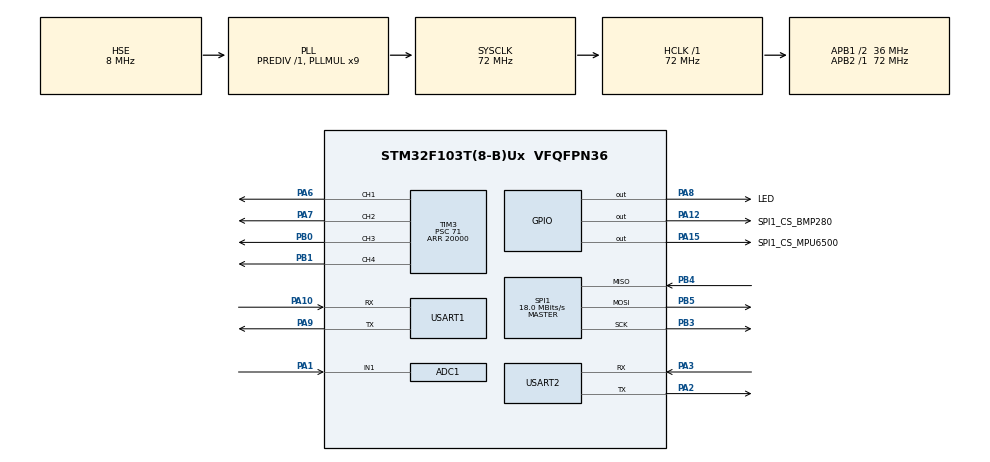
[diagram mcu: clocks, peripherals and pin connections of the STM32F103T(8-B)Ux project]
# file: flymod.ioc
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ADC1.Channel-0\#ChannelRegularConversion=ADC_CHANNEL_1
ADC1.ContinuousConvMode=ENABLE
ADC1.NbrOfConversionFlag=1
ADC1.Rank-0\#ChannelRegularConversion=1
ADC1.SamplingTime-0\#ChannelRegularConversion=ADC_SAMPLETIME_1CYCLE_5
ADC1.master=1
Dma.ADC1.0.Direction=DMA_PERIPH_TO_MEMORY
Dma.ADC1.0.Instance=DMA1_Channel1
Dma.ADC1.0.MemDataAlignment=DMA_MDATAALIGN_WORD
Dma.ADC1.0.MemInc=DMA_MINC_ENABLE
Dma.ADC1.0.Mode=DMA_CIRCULAR
Dma.ADC1.0.PeriphDataAlignment=DMA_PDATAALIGN_WORD
Dma.ADC1.0.PeriphInc=DMA_PINC_DISABLE
Dma.ADC1.0.Priority=DMA_PRIORITY_LOW
Dma.Request0=ADC1
Dma.Request1=USART1_RX
Dma.Request2=USART1_TX
Dma.Request3=USART2_RX
Dma.Request4=USART2_TX
Dma.USART1_RX.1.Direction=DMA_PERIPH_TO_MEMORY
Dma.USART1_RX.1.Instance=DMA1_Channel5
Dma.USART1_RX.1.MemDataAlignment=DMA_MDATAALIGN_BYTE
Dma.USART1_RX.1.MemInc=DMA_MINC_ENABLE
Dma.USART1_RX.1.Mode=DMA_NORMAL
Dma.USART1_RX.1.PeriphDataAlignment=DMA_PDATAALIGN_BYTE
Dma.USART1_RX.1.PeriphInc=DMA_PINC_DISABLE
Dma.USART1_RX.1.Priority=DMA_PRIORITY_LOW
Dma.USART1_TX.2.Direction=DMA_MEMORY_TO_PERIPH
Dma.USART1_TX.2.Instance=DMA1_Channel4
Dma.USART1_TX.2.MemDataAlignment=DMA_MDATAALIGN_BYTE
Dma.USART1_TX.2.MemInc=DMA_MINC_ENABLE
Dma.USART1_TX.2.Mode=DMA_CIRCULAR
Dma.USART1_TX.2.PeriphDataAlignment=DMA_PDATAALIGN_BYTE
Dma.USART1_TX.2.PeriphInc=DMA_PINC_DISABLE
Dma.USART1_TX.2.Priority=DMA_PRIORITY_LOW
Dma.USART2_RX.3.Direction=DMA_PERIPH_TO_MEMORY
Dma.USART2_RX.3.Instance=DMA1_Channel6
Dma.USART2_RX.3.MemDataAlignment=DMA_MDATAALIGN_BYTE
Dma.USART2_RX.3.MemInc=DMA_MINC_ENABLE
Dma.USART2_RX.3.Mode=DMA_NORMAL
Dma.USART2_RX.3.PeriphDataAlignment=DMA_PDATAALIGN_BYTE
Dma.USART2_RX.3.PeriphInc=DMA_PINC_DISABLE
Dma.USART2_RX.3.Priority=DMA_PRIORITY_LOW
Dma.USART2_TX.4.Direction=DMA_MEMORY_TO_PERIPH
Dma.USART2_TX.4.Instance=DMA1_Channel7
Dma.USART2_TX.4.MemDataAlignment=DMA_MDATAALIGN_BYTE
Dma.USART2_TX.4.MemInc=DMA_MINC_ENABLE
Dma.USART2_TX.4.Mode=DMA_CIRCULAR
Dma.USART2_TX.4.PeriphDataAlignment=DMA_PDATAALIGN_BYTE
Dma.USART2_TX.4.PeriphInc=DMA_PINC_DISABLE
Dma.USART2_TX.4.Priority=DMA_PRIORITY_LOW
FREERTOS.INCLUDE_vTaskDelayUntil=1
FREERTOS.Tasks01=defaultTask,0,128,StartDefaultTask,Default,NULL,Dynamic,NULL,NULL;STABILIZER,0,128,stabilizerTask,Default,NULL,Dynamic,NULL,NULL;USART1_RX,-1,64,usart1RxTask,Default,NULL,Dynamic,NULL,NULL;USART2_RX,-1,64,usart2RxTask,Default,NULL,Dynamic,NULL,NULL;USART1_TX,-3,64,usart1TxTask,Default,NULL,Dynamic,NULL,NULL;USART2_TX,-3,64,usart2TxTask,Default,NULL,Dynamic,NULL,NULL
FREERTOS.configMAX_PRIORITIES=4
FREERTOS.configMINIMAL_STACK_SIZE=64
FREERTOS.configTOTAL_HEAP_SIZE=10000
Mcu.Family=STM32F1
Mcu.Name=STM32F103T(8-B)Ux
Mcu.Package=VFQFPN36
NVIC.DMA1_Channel1_IRQn=true\:5\:0\:false\:false\:true\:true\:false
NVIC.DMA1_Channel4_IRQn=true\:5\:0\:false\:false\:true\:true\:false
NVIC.DMA1_Channel5_IRQn=true\:5\:0\:false\:false\:true\:true\:false
NVIC.DMA1_Channel6_IRQn=true\:5\:0\:false\:false\:true\:true\:false
NVIC.DMA1_Channel7_IRQn=true\:5\:0\:false\:false\:true\:true\:false
NVIC.PriorityGroup=NVIC_PRIORITYGROUP_4
NVIC.TIM1_UP_IRQn=true\:0\:0\:false\:false\:true\:false\:false
NVIC.TimeBase=TIM1_UP_IRQn
NVIC.TimeBaseIP=TIM1
NVIC.USART1_IRQn=true\:5\:0\:false\:false\:true\:true\:true
NVIC.USART2_IRQn=true\:5\:0\:false\:false\:true\:true\:true
PA1.Signal=ADCx_IN1
PA10.Mode=Asynchronous
PA10.Signal=USART1_RX
PA12.GPIO_Label=SPI1_CS_BMP280
PA12.GPIO_ModeDefaultOutputPP=GPIO_MODE_OUTPUT_PP
PA12.GPIO_PuPd=GPIO_PULLUP
PA12.GPIO_Speed=GPIO_SPEED_FREQ_HIGH
PA12.PinState=GPIO_PIN_SET
PA12.Signal=GPIO_Output
PA13.Mode=Serial_Wire
PA13.Signal=SYS_JTMS-SWDIO
PA14.Mode=Serial_Wire
PA14.Signal=SYS_JTCK-SWCLK
PA15.GPIO_Label=SPI1_CS_MPU6500
PA15.GPIO_PuPd=GPIO_PULLUP
PA15.GPIO_Speed=GPIO_SPEED_FREQ_HIGH
PA15.PinState=GPIO_PIN_SET
PA15.Signal=GPIO_Output
PA2.Mode=Asynchronous
PA2.Signal=USART2_TX
PA3.Mode=Asynchronous
PA3.Signal=USART2_RX
PA6.Signal=S_TIM3_CH1
PA7.Signal=S_TIM3_CH2
PA8.GPIO_Label=LED
PA8.GPIO_PuPd=GPIO_PULLUP
PA8.GPIO_Speed=GPIO_SPEED_FREQ_HIGH
PA8.PinState=GPIO_PIN_SET
PA8.Signal=GPIO_Output
PA9.Mode=Asynchronous
PA9.Signal=USART1_TX
PB0.Signal=S_TIM3_CH3
PB1.Signal=S_TIM3_CH4
PB3.Mode=Full_Duplex_Master
PB3.Signal=SPI1_SCK
PB4.Mode=Full_Duplex_Master
PB4.Signal=SPI1_MISO
PB5.Mode=Full_Duplex_Master
PB5.Signal=SPI1_MOSI
PD0-OSC_IN.Mode=HSE-External-Oscillator
PD0-OSC_IN.Signal=RCC_OSC_IN
PD1-OSC_OUT.Mode=HSE-External-Oscillator
PD1-OSC_OUT.Signal=RCC_OSC_OUT
ProjectManager.HeapSize=0x200
ProjectManager.StackSize=0x400
ProjectManager.TargetToolchain=MDK-ARM V5
RCC.ADCPresc=RCC_ADCPCLK2_DIV6
RCC.AHBFreq_Value=72000000
RCC.APB1CLKDivider=RCC_HCLK_DIV2
RCC.APB1Freq_Value=36000000
RCC.APB1TimFreq_Value=72000000
RCC.APB2Freq_Value=72000000
RCC.APB2TimFreq_Value=72000000
RCC.HCLKFreq_Value=72000000
RCC.PLLMUL=RCC_PLL_MUL9
RCC.PLLSourceVirtual=RCC_PLLSOURCE_HSE
RCC.SYSCLKFreq_VALUE=72000000
RCC.SYSCLKSource=RCC_SYSCLKSOURCE_PLLCLK
RCC.USBFreq_Value=72000000
SH.ADCx_IN1.0=ADC1_IN1,IN1
SH.S_TIM3_CH1.0=TIM3_CH1,PWM Generation1 CH1
SH.S_TIM3_CH2.0=TIM3_CH2,PWM Generation2 CH2
SH.S_TIM3_CH3.0=TIM3_CH3,PWM Generation3 CH3
SH.S_TIM3_CH4.0=TIM3_CH4,PWM Generation4 CH4
SPI1.BaudRatePrescaler=SPI_BAUDRATEPRESCALER_4
SPI1.CalculateBaudRate=18.0 MBits/s
SPI1.Direction=SPI_DIRECTION_2LINES
SPI1.Mode=SPI_MODE_MASTER
SPI1.VirtualType=VM_MASTER
TIM2.AutoReloadPreload=TIM_AUTORELOAD_PRELOAD_ENABLE
TIM2.Period=65535
TIM2.Prescaler=71
TIM3.AutoReloadPreload=TIM_AUTORELOAD_PRELOAD_ENABLE
TIM3.Channel-PWM\ Generation1\ CH1=TIM_CHANNEL_1
TIM3.Channel-PWM\ Generation2\ CH2=TIM_CHANNEL_2
TIM3.Channel-PWM\ Generation3\ CH3=TIM_CHANNEL_3
TIM3.Channel-PWM\ Generation4\ CH4=TIM_CHANNEL_4
TIM3.Period=20000
TIM3.Prescaler=71
TIM4.AutoReloadPreload=TIM_AUTORELOAD_PRELOAD_ENABLE
TIM4.Period=65535
TIM4.Prescaler=71
USART1.VirtualMode=VM_ASYNC
USART2.VirtualMode=VM_ASYNC
VP_FREERTOS_VS_ENABLE.Mode=Enabled
VP_SYS_VS_tim1.Mode=TIM1
VP_TIM2_VS_ClockSourceINT.Mode=Internal
VP_TIM4_VS_ClockSourceINT.Mode=Internal
board=custom

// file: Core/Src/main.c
/**
  ******************************************************************************
  * @file           : main.c
  * @brief          : Main program body
  ******************************************************************************
  * This notice applies to any and all portions of this file
  * that are not between comment pairs USER CODE BEGIN and
  * USER CODE END. Other portions of this file, whether
  * inserted by the user or by software development tools
  * are owned by their respective copyright owners.
  *
  * Copyright (c) 2018 STMicroelectronics International N.V.
  * All rights reserved.
  *
  * Redistribution and use in source and binary forms, with or without
  * modification, are permitted, provided that the following conditions are met:
  *
  * 1. Redistribution of source code must retain the above copyright notice,
  *    this list of conditions and the following disclaimer.
  * 2. Redistributions in binary form must reproduce the above copyright notice,
  *    this list of conditions and the following disclaimer in the documentation
  *    and/or other materials provided with the distribution.
  * 3. Neither the name of STMicroelectronics nor the names of other
  *    contributors to this software may be used to endorse or promote products
  *    derived from this software without specific written permission.
  * 4. This software, including modifications and/or derivative works of this
  *    software, must execute solely and exclusively on microcontroller or
  *    microprocessor devices manufactured by or for STMicroelectronics.
  * 5. Redistribution and use of this software other than as permitted under
  *    this license is void and will automatically terminate your rights under
  *    this license.
  *
  * THIS SOFTWARE IS PROVIDED BY STMICROELECTRONICS AND CONTRIBUTORS "AS IS"
  * AND ANY EXPRESS, IMPLIED OR STATUTORY WARRANTIES, INCLUDING, BUT NOT
  * LIMITED TO, THE IMPLIED WARRANTIES OF MERCHANTABILITY, FITNESS FOR A
  * PARTICULAR PURPOSE AND NON-INFRINGEMENT OF THIRD PARTY INTELLECTUAL PROPERTY
  * RIGHTS ARE DISCLAIMED TO THE FULLEST EXTENT PERMITTED BY LAW. IN NO EVENT
  * SHALL STMICROELECTRONICS OR CONTRIBUTORS BE LIABLE FOR ANY DIRECT, INDIRECT,
  * INCIDENTAL, SPECIAL, EXEMPLARY, OR CONSEQUENTIAL DAMAGES (INCLUDING, BUT NOT
  * LIMITED TO, PROCUREMENT OF SUBSTITUTE GOODS OR SERVICES; LOSS OF USE, DATA,
  * OR PROFITS; OR BUSINESS INTERRUPTION) HOWEVER CAUSED AND ON ANY THEORY OF
  * LIABILITY, WHETHER IN CONTRACT, STRICT LIABILITY, OR TORT (INCLUDING
  * NEGLIGENCE OR OTHERWISE) ARISING IN ANY WAY OUT OF THE USE OF THIS SOFTWARE,
  * EVEN IF ADVISED OF THE POSSIBILITY OF SUCH DAMAGE.
  *
  ******************************************************************************
  */
#include "main.h"
#include "stm32f1xx_hal.h"
#include "cmsis_os.h"
#include "adc.h"
#include "dma.h"
#include "spi.h"
#include "tim.h"
#include "usart.h"
#include "gpio.h"

/* USER CODE BEGIN Includes */

#include "mpu6500.h"

/* USER CODE END Includes */

/* USER CODE BEGIN PV */
/* Private variables ---------------------------------------------------------*/

/* USER CODE END PV */

void SystemClock_Config(void);
void MX_FREERTOS_Init(void);

/* USER CODE BEGIN PFP */
/* Private function prototypes -----------------------------------------------*/

/* USER CODE END PFP */

int main(void)
{

  /* MCU Configuration----------------------------------------------------------*/

  /* Reset of all peripherals, Initializes the Flash interface and the Systick. */
  HAL_Init();

  /* Configure the system clock */
  SystemClock_Config();

  /* Initialize all configured peripherals */
  MX_GPIO_Init();
  MX_DMA_Init();
  MX_ADC1_Init();
  MX_SPI1_Init();
  MX_TIM2_Init();
  MX_TIM3_Init();
  MX_TIM4_Init();
  MX_USART1_UART_Init();
  MX_USART2_UART_Init();
  /* USER CODE BEGIN 2 */

  #if NEED_TIME == 1
    HAL_TIM_Base_Start(&htim2);//用于计时，调试
    HAL_TIM_Base_Start(&htim4);//用于计时，调试
  #endif

  USART2_Init();
  MPU6500_Init();            //mpu6500初始化

  /* USER CODE END 2 */

  /* Call init function for freertos objects (in freertos.c) */
  MX_FREERTOS_Init();

  /* Start scheduler */
  osKernelStart();

  /* We should never get here as control is now taken by the scheduler */

  /* Infinite loop */
  while (1)
  {

  }

}

void SystemClock_Config(void)
{

  RCC_OscInitTypeDef RCC_OscInitStruct;
  RCC_ClkInitTypeDef RCC_ClkInitStruct;
  RCC_PeriphCLKInitTypeDef PeriphClkInit;

    /**Initializes the CPU, AHB and APB busses clocks
    */
  RCC_OscInitStruct.OscillatorType = RCC_OSCILLATORTYPE_HSE;
  RCC_OscInitStruct.HSEState = RCC_HSE_ON;
  RCC_OscInitStruct.HSEPredivValue = RCC_HSE_PREDIV_DIV1;
  RCC_OscInitStruct.HSIState = RCC_HSI_ON;
  RCC_OscInitStruct.PLL.PLLState = RCC_PLL_ON;
  RCC_OscInitStruct.PLL.PLLSource = RCC_PLLSOURCE_HSE;
  RCC_OscInitStruct.PLL.PLLMUL = RCC_PLL_MUL9;
  if (HAL_RCC_OscConfig(&RCC_OscInitStruct) != HAL_OK)
  {
    _Error_Handler(__FILE__, __LINE__);
  }

    /**Initializes the CPU, AHB and APB busses clocks
    */
  RCC_ClkInitStruct.ClockType = RCC_CLOCKTYPE_HCLK|RCC_CLOCKTYPE_SYSCLK
                              |RCC_CLOCKTYPE_PCLK1|RCC_CLOCKTYPE_PCLK2;
  RCC_ClkInitStruct.SYSCLKSource = RCC_SYSCLKSOURCE_PLLCLK;
  RCC_ClkInitStruct.AHBCLKDivider = RCC_SYSCLK_DIV1;
  RCC_ClkInitStruct.APB1CLKDivider = RCC_HCLK_DIV2;
  RCC_ClkInitStruct.APB2CLKDivider = RCC_HCLK_DIV1;

  if (HAL_RCC_ClockConfig(&RCC_ClkInitStruct, FLASH_LATENCY_2) != HAL_OK)
  {
    _Error_Handler(__FILE__, __LINE__);
  }

  PeriphClkInit.PeriphClockSelection = RCC_PERIPHCLK_ADC;
  PeriphClkInit.AdcClockSelection = RCC_ADCPCLK2_DIV6;
  if (HAL_RCCEx_PeriphCLKConfig(&PeriphClkInit) != HAL_OK)
  {
    _Error_Handler(__FILE__, __LINE__);
  }

    /**Configure the Systick interrupt time
    */
  HAL_SYSTICK_Config(HAL_RCC_GetHCLKFreq()/1000);

    /**Configure the Systick
    */
  HAL_SYSTICK_CLKSourceConfig(SYSTICK_CLKSOURCE_HCLK);

  /* SysTick_IRQn interrupt configuration */
  HAL_NVIC_SetPriority(SysTick_IRQn, 15, 0);
}

void HAL_TIM_PeriodElapsedCallback(TIM_HandleTypeDef *htim)
{
  if (htim->Instance == TIM1) {
    HAL_IncTick();
  }
}

void _Error_Handler(char *file, int line)
{
  while(1)
  {
  }
}

/************************ (C) COPYRIGHT STMicroelectronics *****END OF FILE****/

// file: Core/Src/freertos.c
/**
  ******************************************************************************
  * File Name          : freertos.c
  * Description        : Code for freertos applications
  ******************************************************************************
  * This notice applies to any and all portions of this file
  * that are not between comment pairs USER CODE BEGIN and
  * USER CODE END. Other portions of this file, whether
  * inserted by the user or by software development tools
  * are owned by their respective copyright owners.
  *
  * Copyright (c) 2018 STMicroelectronics International N.V.
  * All rights reserved.
  *
  * Redistribution and use in source and binary forms, with or without
  * modification, are permitted, provided that the following conditions are met:
  *
  * 1. Redistribution of source code must retain the above copyright notice,
  *    this list of conditions and the following disclaimer.
  * 2. Redistributions in binary form must reproduce the above copyright notice,
  *    this list of conditions and the following disclaimer in the documentation
  *    and/or other materials provided with the distribution.
  * 3. Neither the name of STMicroelectronics nor the names of other
  *    contributors to this software may be used to endorse or promote products
  *    derived from this software without specific written permission.
  * 4. This software, including modifications and/or derivative works of this
  *    software, must execute solely and exclusively on microcontroller or
  *    microprocessor devices manufactured by or for STMicroelectronics.
  * 5. Redistribution and use of this software other than as permitted under
  *    this license is void and will automatically terminate your rights under
  *    this license.
  *
  * THIS SOFTWARE IS PROVIDED BY STMICROELECTRONICS AND CONTRIBUTORS "AS IS"
  * AND ANY EXPRESS, IMPLIED OR STATUTORY WARRANTIES, INCLUDING, BUT NOT
  * LIMITED TO, THE IMPLIED WARRANTIES OF MERCHANTABILITY, FITNESS FOR A
  * PARTICULAR PURPOSE AND NON-INFRINGEMENT OF THIRD PARTY INTELLECTUAL PROPERTY
  * RIGHTS ARE DISCLAIMED TO THE FULLEST EXTENT PERMITTED BY LAW. IN NO EVENT
  * SHALL STMICROELECTRONICS OR CONTRIBUTORS BE LIABLE FOR ANY DIRECT, INDIRECT,
  * INCIDENTAL, SPECIAL, EXEMPLARY, OR CONSEQUENTIAL DAMAGES (INCLUDING, BUT NOT
  * LIMITED TO, PROCUREMENT OF SUBSTITUTE GOODS OR SERVICES; LOSS OF USE, DATA,
  * OR PROFITS; OR BUSINESS INTERRUPTION) HOWEVER CAUSED AND ON ANY THEORY OF
  * LIABILITY, WHETHER IN CONTRACT, STRICT LIABILITY, OR TORT (INCLUDING
  * NEGLIGENCE OR OTHERWISE) ARISING IN ANY WAY OUT OF THE USE OF THIS SOFTWARE,
  * EVEN IF ADVISED OF THE POSSIBILITY OF SUCH DAMAGE.
  *
  ******************************************************************************
  */

#include "FreeRTOS.h"
#include "task.h"
#include "cmsis_os.h"

/* USER CODE BEGIN Includes */

#include "data_common.h"
#include "mpu6500.h"
#include "tim.h"
#include "imu.h"
#include "usart.h"
#include "ANO_Tech_V4.h"

/* USER CODE END Includes */

osThreadId defaultTaskHandle;
osThreadId STABILIZERHandle;
osThreadId USART1_RXHandle;
osThreadId USART2_RXHandle;
osThreadId USART1_TXHandle;
osThreadId USART2_TXHandle;

/* USER CODE BEGIN Variables */

float main_loop_time=0;  //系统主循环周期

/* USER CODE END Variables */

void StartDefaultTask(void const * argument);
void stabilizerTask(void const * argument);
void usart1RxTask(void const * argument);
void usart2RxTask(void const * argument);
void usart1TxTask(void const * argument);
void usart2TxTask(void const * argument);

void MX_FREERTOS_Init(void); /* (MISRA C 2004 rule 8.1) */

/* Hook prototypes */

/* Init FreeRTOS */

void MX_FREERTOS_Init(void) {

  /* Create the thread(s) */
  /* definition and creation of defaultTask */
  osThreadDef(defaultTask, StartDefaultTask, osPriorityNormal, 0, 128);
  defaultTaskHandle = osThreadCreate(osThread(defaultTask), NULL);

  /* definition and creation of STABILIZER */
  osThreadDef(STABILIZER, stabilizerTask, osPriorityNormal, 0, 128);
  STABILIZERHandle = osThreadCreate(osThread(STABILIZER), NULL);

  /* definition and creation of USART1_RX */
  osThreadDef(USART1_RX, usart1RxTask, osPriorityBelowNormal, 0, 64);
  USART1_RXHandle = osThreadCreate(osThread(USART1_RX), NULL);

  /* definition and creation of USART2_RX */
  osThreadDef(USART2_RX, usart2RxTask, osPriorityBelowNormal, 0, 64);
  USART2_RXHandle = osThreadCreate(osThread(USART2_RX), NULL);

  /* definition and creation of USART1_TX */
  osThreadDef(USART1_TX, usart1TxTask, osPriorityIdle, 0, 64);
  USART1_TXHandle = osThreadCreate(osThread(USART1_TX), NULL);

  /* definition and creation of USART2_TX */
  osThreadDef(USART2_TX, usart2TxTask, osPriorityIdle, 0, 64);
  USART2_TXHandle = osThreadCreate(osThread(USART2_TX), NULL);

  /* USER CODE BEGIN RTOS_THREADS */
  /* add threads, ... */

  osThreadSuspend(USART1_RXHandle);//挂起
  Usart1.Rx.Task_flag=true;

  osThreadSuspend(USART2_RXHandle);//挂起
  Usart2.Rx.Task_flag=true;

  /* USER CODE END RTOS_THREADS */

}

/* StartDefaultTask function */
void StartDefaultTask(void const * argument)
{

  for(;;)
  {
    osDelay(1);
  }
}

/* stabilizerTask function */
void stabilizerTask(void const * argument)
{
  /* USER CODE BEGIN stabilizerTask */
  /* Infinite loop */

  uint32_t tick=0;

  TickType_t xLastWakeTime = xTaskGetTickCount();

  for(;;)
  {
    vTaskDelayUntil(&xLastWakeTime, portTICK_RATE_MS);//1ms延时，1000Hz

    //mpu6500数据读取，imu更新（500Hz）
    if(RATE_DO_EXECUTE(RATE_500_HZ, tick))
    {
      //更新MPU6500数据
      Sensors_Acc_Gyro_Update_2();

      //姿态解算
      IMUupdate_2(0.002f);

      //主循环时间计时
      #if NEED_TIME == 1
        Stop_timing(&htim4, &main_loop_time);//单位ms
        Start_timing(&htim4);
      #endif
    }

    tick++;//以1000Hz的速度自加，需要49天才会溢出（4,294,967,295）
  }
  /* USER CODE END stabilizerTask */
}

/* usart1RxTask function */
void usart1RxTask(void const * argument)
{
  for(;;)
  {
    osDelay(1);
  }
}

/* usart2RxTask function */
void usart2RxTask(void const * argument)
{
  /* USER CODE BEGIN usart2RxTask */
  /* Infinite loop */
  for(;;)
  {
    USART_Rx_Decode(Usart2.Rx.Buff);

    Usart2.Rx.Task_flag=true;
    osThreadSuspend(USART2_RXHandle);//挂起
  }
  /* USER CODE END usart2RxTask */
}

/* usart1TxTask function */
void usart1TxTask(void const * argument)
{
  for(;;)
  {
    osDelay(1);
  }
}

/* usart2TxTask function */
void usart2TxTask(void const * argument)
{
  /* USER CODE BEGIN usart2TxTask */
  /* Infinite loop */
  for(;;)
  {
    ANO_DT_Data_Exchange();//给上位机发送数据

    osDelay(1);
  }
  /* USER CODE END usart2TxTask */
}

/************************ (C) COPYRIGHT STMicroelectronics *****END OF FILE****/
